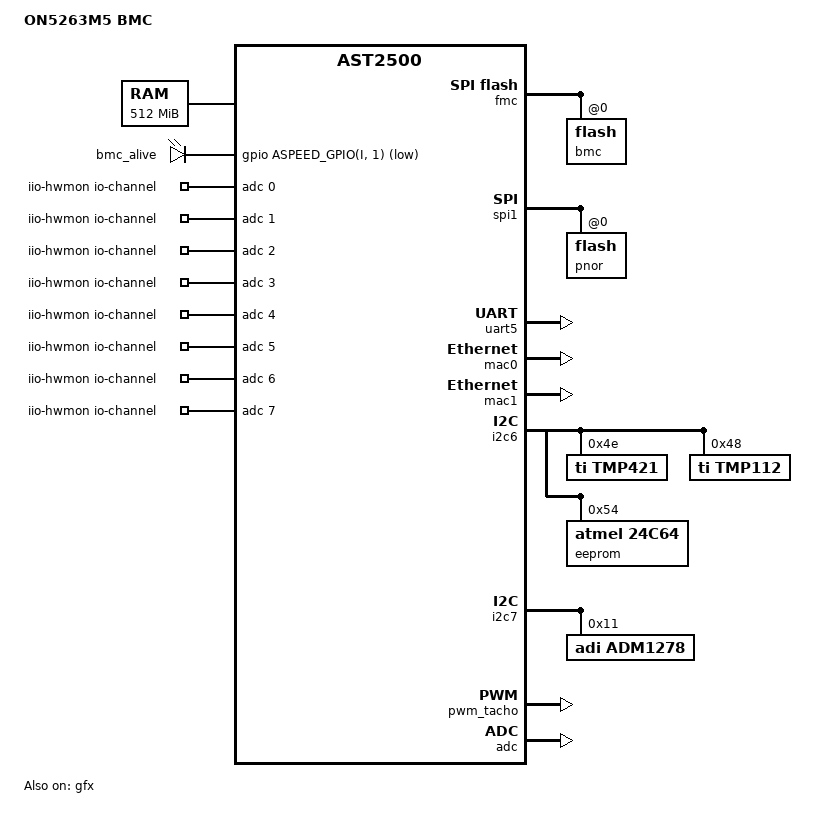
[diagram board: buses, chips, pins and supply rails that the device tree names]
// SPDX-License-Identifier: GPL-2.0
// Copyright (c) 2018 Inspur Corporation
/dts-v1/;

#include "aspeed-g5.dtsi"
#include <dt-bindings/gpio/aspeed-gpio.h>

/ {
	model = "ON5263M5 BMC";
	compatible = "inspur,on5263m5-bmc", "aspeed,ast2500";

	chosen {
		stdout-path = &uart5;
		bootargs = "earlyprintk";
	};

	memory {
		reg = <0x80000000 0x20000000>;
	};

	reserved-memory {
		#address-cells = <1>;
		#size-cells = <1>;
		ranges;

		vga_memory: framebuffer@9f000000 {
			no-map;
			reg = <0x9f000000 0x01000000>;
		};
	};

	leds {
	    compatible = "gpio-leds";
	    bmc_alive {
		label = "bmc_alive";
		gpios = <&gpio ASPEED_GPIO(I, 1) GPIO_ACTIVE_LOW>;
		linux,default-trigger = "timer";
	    };
	};

	iio-hwmon {
		compatible = "iio-hwmon";
		io-channels = <&adc 0>, <&adc 1>, <&adc 2>, <&adc 3>,
			<&adc 4>, <&adc 5>, <&adc 6>, <&adc 7>;
	};

};

&fmc {
	status = "okay";
	flash@0 {
		status = "okay";
		m25p,fast-read;
		label = "bmc";
#include "openbmc-flash-layout.dtsi"
	};
};

&spi1 {
	status = "okay";
	pinctrl-names = "default";
	pinctrl-0 = <&pinctrl_spi1_default>;

	flash@0 {
		status = "okay";
		m25p,fast-read;
		label = "pnor";
	};
};

&uart5 {
	status = "okay";
};

&mac0 {
	status = "okay";

	pinctrl-names = "default";
	pinctrl-0 = <&pinctrl_rmii1_default>;
	clocks = <&syscon ASPEED_CLK_GATE_MAC1CLK>,
		 <&syscon ASPEED_CLK_MAC1RCLK>;
	clock-names = "MACCLK", "RCLK";
	use-ncsi;
};

&mac1 {
	status = "okay";

	pinctrl-names = "default";
	pinctrl-0 = <&pinctrl_rgmii2_default &pinctrl_mdio2_default>;
};

&i2c6 {
	status = "okay";

	tmp421@4e {
		compatible = "ti,tmp421";
		reg = <0x4e>;
	};

	tmp112@48 {
		compatible = "ti,tmp112";
		reg = <0x48>;
	};

	eeprom@54 {
		compatible = "atmel,24c64";
		reg = <0x54>;
		pagesize = <32>;
	};
};

&i2c7 {
	status = "okay";

	adm1278@11 {
		  compatible = "adi,adm1278";
		  reg = <0x11>;
	};
};

&gfx {
	status = "okay";
};

&pinctrl {
	aspeed,external-nodes = <&gfx &lhc>;
};

&pwm_tacho {
	status = "okay";
	pinctrl-names = "default";
	pinctrl-0 = <&pinctrl_pwm0_default &pinctrl_pwm1_default>;

	fan@0 {
		reg = <0x00>;
		aspeed,fan-tach-ch = /bits/ 8 <0x00 0x01>;
	};

	fan@1 {
		reg = <0x01>;
		aspeed,fan-tach-ch = /bits/ 8 <0x02 0x03>;
	};
};

&adc {
	status = "okay";
};
